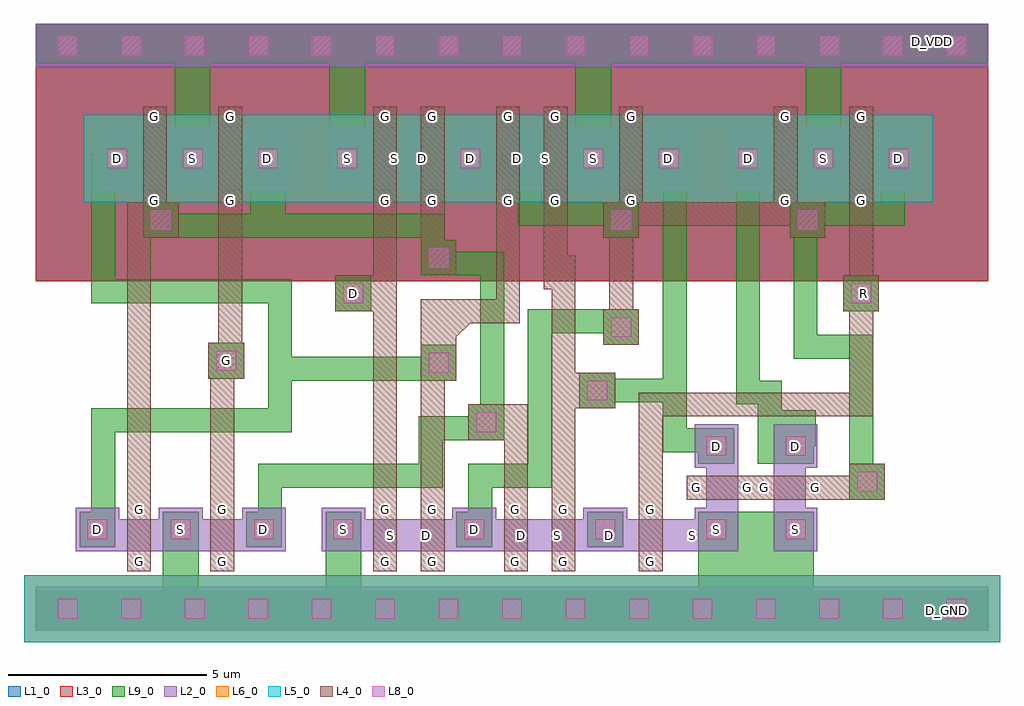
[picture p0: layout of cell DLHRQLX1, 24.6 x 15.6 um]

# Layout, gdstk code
import gdstk
lib = gdstk.Library(unit=1e-6, precision=1e-09)
def R(c, l, rs):  # rectangles x0, y0, x1, y1
    for r in rs: c.add(gdstk.rectangle(r[:2], r[2:], *l))
def A(c, l, x, y, w, h, nx, ny, dx, dy):  # array of equal rectangles
    R(c, l, [(x+i*dx, y+j*dy, x+i*dx+w, y+j*dy+h) for i in range(nx) for j in range(ny)])
def P(c, l, *ps):  # polygons
    for p in ps: c.add(gdstk.Polygon(p, *l))
L1_0 = (1, 0)
L2_0 = (2, 0)
L3_0 = (3, 0)
L4_0 = (4, 0)
L5_0 = (5, 0)
L6_0 = (6, 0)
L8_0 = (8, 0)
L9_0 = (9, 0)

dlhrqlx1 = lib.new_cell('DLHRQLX1')
A(dlhrqlx1, L1_0, 0, 8.8, 1.6, 6.5, 15, 1, 1.6, 0)
R(dlhrqlx1, L1_0, [(0,9.6,6,14.2), (1.9,9.6,7.9,14.2), (5.8,9.6,11.8,14.2), (7,9.6,13,14.2), (8.9,9.6,14.9,14.2), (10.1,9.6,16.1,14.2), (12,9.6,18,14.2), (15.9,9.6,21.9,14.2), (17.8,9.6,23.8,14.2)])
A(dlhrqlx1, L2_0, 0, 0, 1.6, 1.1, 15, 2, 1.6, 14.2)
R(dlhrqlx1, L2_0, [(1,2,2.1,3.1), (2.1,2,3.1,2.8), (3.1,2,4.2,3.1), (3.1,2,4.2,3.1), (4.2,2,5.2,2.8), (5.2,2,6.3,3.1), (7.2,2,8.3,3.1), (8.3,2,9.3,2.8), (8.4,2,9.5,2.8), (9.3,2,10.4,2.8), (9.5,2,10.5,2.8), (10.5,2,11.6,3.1), (10.5,2,11.6,3.1), (11.6,2,12.6,2.8), (11.7,2,12.8,2.8), (12.6,2,13.7,2.8), (12.8,2,13.8,2.8), (13.8,2,14.9,3.1), (13.9,2,15,2.8), (15,2,16,2.8), (16,2,17.1,2.8), (16.6,2,17.7,3.1), (18.6,2,19.7,3.1), (16.9,3.1,17.7,4.1), (18.6,3.1,19.4,4.1), (16.6,4.1,17.7,5.2), (18.6,4.1,19.7,5.2), (1.5,11.1,2.6,12.7), (2.6,11.1,3.4,12.7), (3.4,11.1,4.5,12.7), (3.4,11.1,4.5,12.7), (4.5,11.1,5.3,12.7), (5.3,11.1,6.4,12.7), (7.3,11.1,8.4,12.7), (8.4,11.1,9.2,12.7), (8.5,11.1,9.6,12.7), (9.2,11.1,10.3,12.7), (9.6,11.1,10.4,12.7), (10.4,11.1,11.5,12.7), (10.4,11.1,11.5,12.7), (11.5,11.1,12.3,12.7), (11.6,11.1,12.7,12.7), (12.3,11.1,13.4,12.7), (12.7,11.1,13.5,12.7), (13.5,11.1,14.6,12.7), (13.5,11.1,14.6,12.7), (14.6,11.1,15.4,12.7), (15.4,11.1,16.5,12.7), (17.4,11.1,18.5,12.7), (18.5,11.1,19.3,12.7), (19.3,11.1,20.4,12.7), (19.3,11.1,20.4,12.7), (20.4,11.1,21.2,12.7), (21.2,11.1,22.3,12.7)])
A(dlhrqlx1, L3_0, 0, 8.8, 1.6, 6.5, 15, 1, 1.6, 0)
R(dlhrqlx1, L3_0, [(0,9.6,6,14.2), (1.9,9.6,7.9,14.2), (5.8,9.6,11.8,14.2), (7,9.6,13,14.2), (8.9,9.6,14.9,14.2), (10.1,9.6,16.1,14.2), (12,9.6,18,14.2), (15.9,9.6,21.9,14.2), (17.8,9.6,23.8,14.2)])
R(dlhrqlx1, L4_0, [(2.3,1.5,2.9,3.3), (2.3,1.5,2.9,2), (4.4,1.5,5,3.3), (4.4,1.5,5,2), (8.5,1.5,9.1,3.3), (8.5,1.5,9.1,2), (9.7,1.5,10.3,3.3), (9.7,1.5,10.3,2), (11.8,1.5,12.4,3.3), (11.8,1.5,12.4,2), (13,1.5,13.6,3.3), (13,1.5,13.6,2), (15.2,1.5,15.8,3.3), (15.2,1.5,15.8,2), (13,2.7,13.6,9.45), (2.3,2.8,2.9,3.3), (4.4,2.8,5,3.3), (8.5,2.8,9.1,3.3), (9.7,2.8,10.3,3.3), (11.8,2.8,12.4,3.3), (13,2.8,13.6,3.3), (15.2,2.8,15.8,3.3), (8.5,3,9.1,10.8), (2.3,3.3,2.9,10.8), (4.4,3.3,5,6.35), (16.4,3.3,18.2,3.9), (16.4,3.3,16.9,3.9), (17.7,3.3,18.2,3.9), (18.1,3.3,19.9,3.9), (18.1,3.3,18.6,3.9), (19,3.3,21.4,3.9), (19.4,3.3,19.9,3.9), (20.5,3.3,21.4,4.2), (10.9,4.8,11.8,5.7), (13.25,5.6,14.6,6.5), (13.7,5.6,14.6,6.5), (9.7,6.3,10.6,7.2), (4.35,6.35,5.25,7.25), (14.3,7.2,15.2,8.1), (4.6,7.25,5.2,10.6), (7.55,8.05,8.45,8.95), (8.45,8.05,8.5,8.95), (20.35,8.05,21.25,8.95), (14.45,8.1,15.05,9.9), (12.8,8.6,13.4,10.6), (9.7,8.95,10.6,9.85), (9.7,9.85,10.3,10.6), (2.7,9.9,3.6,10.8), (14.3,9.9,15.2,10.8), (19,9.9,19.9,10.8), (2.7,10.6,3.3,11.1), (2.7,10.6,3.3,13.2), (4.6,10.6,5.2,11.1), (4.6,10.6,5.2,13.2), (8.5,10.6,9.1,11.1), (8.5,10.6,9.1,13.2), (9.7,10.6,10.3,11.1), (9.7,10.6,10.3,13.2), (11.6,10.6,12.2,11.1), (11.6,10.6,12.2,13.2), (12.8,10.6,13.4,11.1), (12.8,10.6,13.4,13.2), (14.7,10.6,15.3,11.1), (14.7,10.6,15.3,13.2), (18.6,10.6,19.2,11.1), (18.6,10.6,19.2,13.2), (20.5,10.6,21.1,11.1), (20.5,10.6,21.1,13.2), (2.7,12.7,3.3,13.2), (4.6,12.7,5.2,13.2), (8.5,12.7,9.1,13.2), (9.7,12.7,10.3,13.2), (11.6,12.7,12.2,13.2), (12.8,12.7,13.4,13.2), (14.7,12.7,15.3,13.2), (18.6,12.7,19.2,13.2), (20.5,12.7,21.1,13.2)])
P(dlhrqlx1, L4_0, [(10.6,7.2),(10.6,7.4),(10.95,7.75),(10.3,7.75),(10.3,7.2)],
  [(9.7,3.3),(10.3,3.3),(10.3,7.75),(12.2,7.75),(12.2,10.6),(11.6,10.6),(11.6,8.35),(9.7,8.35)],
  [(14.7,10.2),(19.2,10.2),(19.2,12.8),(18.6,12.8),(18.6,10.8),(14.7,10.8)],
  [(15.2,3.3),(15.8,3.3),(15.8,5.4),(21.1,5.4),(21.1,10.6),(20.5,10.6),(20.5,6),(15.2,6)],
  [(11.4,5.1),(11.8,5.1),(11.8,2.5),(12.4,2.5),(12.4,5.7),(11.4,5.7)])
A(dlhrqlx1, L5_0, 1.6, -0.3, 1.6, 1.7, 13, 1, 1.6, 0)
R(dlhrqlx1, L5_0, [(-0.3,-0.3,1.6,1.4), (22.4,-0.3,24.3,1.4), (1.2,10.8,4.8,13), (3.1,10.8,6.7,13), (6.4,10.8,7.25,13), (7,10.8,10.6,13), (8.2,10.8,11.8,13), (10.1,10.8,13.7,13), (11.3,10.8,14.9,13), (13.2,10.8,16.8,13), (16.4,10.8,17.45,13), (17.1,10.8,20.7,13), (19,10.8,22.6,13)])
A(dlhrqlx1, L6_0, 1.6, -0.3, 1.6, 1.7, 13, 1, 1.6, 0)
R(dlhrqlx1, L6_0, [(-0.3,-0.3,1.6,1.4), (22.4,-0.3,24.3,1.4), (1.2,10.8,4.8,13), (3.1,10.8,6.7,13), (6.2,10.8,7.35,13), (7,10.8,10.6,13), (8.2,10.8,11.8,13), (10.1,10.8,13.7,13), (11.3,10.8,14.9,13), (13.2,10.8,16.8,13), (16.4,10.8,17.45,13), (17.1,10.8,20.7,13), (19,10.8,22.6,13)])
A(dlhrqlx1, L8_0, 0.55, 0.3, 0.5, 0.5, 15, 2, 1.6, 14.2)
R(dlhrqlx1, L8_0, [(1.3,2.3,1.8,2.8), (3.4,2.3,3.9,2.8), (3.4,2.3,3.9,2.8), (5.5,2.3,6,2.8), (7.5,2.3,8,2.8), (10.8,2.3,11.3,2.8), (10.8,2.3,11.3,2.8), (14.1,2.3,14.6,2.8), (16.9,2.3,17.4,2.8), (18.9,2.3,19.4,2.8), (20.7,3.5,21.2,4), (16.9,4.4,17.4,4.9), (18.9,4.4,19.4,4.9), (11.1,5,11.6,5.5), (13.9,5.8,14.4,6.3), (9.9,6.5,10.4,7), (4.55,6.55,5.05,7.05), (14.5,7.4,15,7.9), (7.75,8.25,8.25,8.75), (20.55,8.25,21.05,8.75), (9.9,9.15,10.4,9.65), (2.9,10.1,3.4,10.6), (14.5,10.1,15,10.6), (19.2,10.1,19.7,10.6), (1.8,11.65,2.3,12.15), (3.7,11.65,4.2,12.15), (3.7,11.65,4.2,12.15), (5.6,11.65,6.1,12.15), (7.6,11.65,8.1,12.15), (10.7,11.65,11.2,12.15), (10.7,11.65,11.2,12.15), (13.8,11.65,14.3,12.15), (13.8,11.65,14.3,12.15), (15.7,11.65,16.2,12.15), (17.7,11.65,18.2,12.15), (19.6,11.65,20.1,12.15), (19.6,11.65,20.1,12.15), (21.5,11.65,22,12.15)])
A(dlhrqlx1, L9_0, 0, 0, 1.6, 1, 15, 2, 1.6, 14.3)
R(dlhrqlx1, L9_0, [(7.3,0,8.2,3), (16.7,0,19.6,3), (22.65,0.2,23.25,0.8), (1.1,2.1,2,3), (3.2,2.1,4.1,3), (3.2,2.1,4.1,3), (5.3,2.1,6.2,3), (7.3,2.1,8.2,3), (10.6,2.1,11.5,3), (10.6,2.1,11.5,3), (13.9,2.1,14.8,3), (16.7,2.1,17.6,3), (18.7,2.1,19.6,3), (5.6,2.4,6.2,4.2), (20.5,3.3,21.4,4.2), (20.65,3.3,21.25,4.05), (16.7,4.2,17.6,5.1), (18.7,4.2,19.6,5.1), (18.75,4.65,19.65,5.55), (10.9,4.8,11.8,5.7), (13.7,5.6,14.6,6.5), (14,5.75,16.4,6.35), (5.85,6.3,10.3,6.9), (9.7,6.3,10.6,7.2), (4.35,6.35,5.25,7.25), (4.5,6.5,5.1,7.1), (14.3,7.2,15.2,8.1), (7.55,8.05,8.45,8.95), (20.35,8.05,21.25,8.95), (7.7,8.2,8.3,8.8), (20.55,8.2,21.15,8.8), (9.7,8.95,10.6,9.85), (2.7,9.9,3.6,10.8), (5.4,9.9,6.3,12.45), (14.3,9.9,15.2,10.8), (19,9.9,19.9,10.8), (19.3,10.2,21.9,10.8), (21.3,10.2,21.9,12), (1.6,11.4,2.5,12.4), (3.5,11.4,4.4,12.4), (3.5,11.4,4.4,12.4), (5.4,11.4,6.3,12.4), (7.4,11.4,8.3,12.4), (7.4,11.4,8.3,15.25), (10.5,11.4,11.4,12.4), (10.5,11.4,11.4,12.4), (13.6,11.4,14.5,12.4), (13.6,11.4,14.5,12.4), (13.6,11.4,14.5,15.25), (15.5,11.4,16.4,12.4), (17.5,11.4,18.4,12.4), (19.4,11.4,20.3,12.4), (19.4,11.4,20.3,12.4), (21.3,11.4,22.2,12.4), (3.5,11.5,4.4,15.2), (19.4,11.9,20.3,14.7), (22.3,14.55,22.9,15.15)])
P(dlhrqlx1, L9_0, [(17.65,5.7),(18.2,5.7),(18.2,4.2),(18.8,4.2),(18.8,4.95),(18.85,4.95),(18.85,5.55),(18.8,5.55),(18.8,6.3),(18.25,6.3),(18.25,12),(17.65,12)],
  [(6,3.6),(10.25,3.6),(10.25,4.8),(11.8,4.8),(11.8,5.4),(9.65,5.4),(9.65,4.2),(6,4.2)],
  [(10,8.95),(11.2,8.95),(11.2,5.1),(11.8,5.1),(11.8,9.55),(10,9.55)],
  [(15.8,4.5),(17.2,4.5),(17.2,5.1),(16.4,5.1),(16.4,12),(15.8,12)],
  [(2.3,0.1),(4.1,0.1),(4.1,3),(3.2,3),(3.2,1),(2.3,1)],
  [(10.9,2.4),(11.5,2.4),(11.5,3.6),(13,3.6),(13,7.5),(14.95,7.5),(14.95,8.1),(12.4,8.1),(12.4,4.2),(10.9,4.2)],
  [(10.8,11.4),(12.15,11.4),(12.15,10.2),(14.9,10.2),(14.9,10.8),(12.75,10.8),(12.75,12),(10.8,12)],
  [(3,9.9),(9.7,9.9),(9.7,9.25),(10.3,9.25),(10.3,10.5),(3,10.5)],
  [(1.4,2.4),(2,2.4),(2,5),(6.45,5),(6.45,6.9),(5.85,6.9),(5.85,5.6),(1.4,5.6)],
  [(1.4,8.25),(5.85,8.25),(5.85,6.3),(6.45,6.3),(6.45,8.85),(2,8.85),(2,11.4),(2.2,11.4),(2.2,12),(1.4,12)],
  [(19.1,6.85),(20.5,6.85),(20.5,3.6),(21.1,3.6),(21.1,7.45),(19.7,7.45),(19.7,10.5),(19.1,10.5)])
dlhrqlx1.add(gdstk.Label('G', (12.1,1.752), layer=4, texttype=0))
dlhrqlx1.add(gdstk.Label('G', (12.1,3.052), layer=4, texttype=0))
dlhrqlx1.add(gdstk.Label('S', (13.151,2.401), layer=2, texttype=0))
dlhrqlx1.add(gdstk.Label('D', (11.051,2.551), layer=9, texttype=0))
dlhrqlx1.add(gdstk.Label('G', (10,1.752), layer=4, texttype=0))
dlhrqlx1.add(gdstk.Label('G', (10,3.052), layer=4, texttype=0))
dlhrqlx1.add(gdstk.Label('S', (8.949,2.401), layer=2, texttype=0))
dlhrqlx1.add(gdstk.Label('D', (11.049,2.551), layer=9, texttype=0))
dlhrqlx1.add(gdstk.Label('D', (9.849,2.401), layer=2, texttype=0))
dlhrqlx1.add(gdstk.Label('G', (8.8,1.752), layer=4, texttype=0))
dlhrqlx1.add(gdstk.Label('G', (8.8,3.052), layer=4, texttype=0))
dlhrqlx1.add(gdstk.Label('S', (7.749,2.551), layer=9, texttype=0))
dlhrqlx1.add(gdstk.Label('G', (13.1,10.852), layer=4, texttype=0))
dlhrqlx1.add(gdstk.Label('G', (13.1,12.952), layer=4, texttype=0))
dlhrqlx1.add(gdstk.Label('S', (14.051,11.901), layer=9, texttype=0))
dlhrqlx1.add(gdstk.Label('D', (12.151,11.901), layer=2, texttype=0))
dlhrqlx1.add(gdstk.Label('G', (11.9,10.852), layer=4, texttype=0))
dlhrqlx1.add(gdstk.Label('G', (11.9,12.952), layer=4, texttype=0))
dlhrqlx1.add(gdstk.Label('S', (12.851,11.901), layer=2, texttype=0))
dlhrqlx1.add(gdstk.Label('D', (10.951,11.901), layer=9, texttype=0))
dlhrqlx1.add(gdstk.Label('G', (10,10.852), layer=4, texttype=0))
dlhrqlx1.add(gdstk.Label('G', (10,12.952), layer=4, texttype=0))
dlhrqlx1.add(gdstk.Label('S', (9.049,11.901), layer=2, texttype=0))
dlhrqlx1.add(gdstk.Label('D', (10.949,11.901), layer=9, texttype=0))
dlhrqlx1.add(gdstk.Label('G', (8.8,10.852), layer=4, texttype=0))
dlhrqlx1.add(gdstk.Label('G', (8.8,12.952), layer=4, texttype=0))
dlhrqlx1.add(gdstk.Label('S', (7.849,11.901), layer=9, texttype=0))
dlhrqlx1.add(gdstk.Label('D', (9.749,11.901), layer=2, texttype=0))
dlhrqlx1.add(gdstk.Label('G', (15,10.852), layer=4, texttype=0))
dlhrqlx1.add(gdstk.Label('G', (15,12.952), layer=4, texttype=0))
dlhrqlx1.add(gdstk.Label('S', (14.049,11.901), layer=9, texttype=0))
dlhrqlx1.add(gdstk.Label('D', (15.949,11.901), layer=9, texttype=0))
dlhrqlx1.add(gdstk.Label('G', (18.9,10.852), layer=4, texttype=0))
dlhrqlx1.add(gdstk.Label('G', (18.9,12.952), layer=4, texttype=0))
dlhrqlx1.add(gdstk.Label('S', (19.851,11.901), layer=9, texttype=0))
dlhrqlx1.add(gdstk.Label('D', (17.951,11.901), layer=9, texttype=0))
dlhrqlx1.add(gdstk.Label('G', (17.948,3.6), layer=4, texttype=0))
dlhrqlx1.add(gdstk.Label('G', (16.648,3.6), layer=4, texttype=0))
dlhrqlx1.add(gdstk.Label('S', (17.149,2.549), layer=9, texttype=0))
dlhrqlx1.add(gdstk.Label('D', (17.149,4.649), layer=9, texttype=0))
dlhrqlx1.add(gdstk.Label('G', (18.352,3.6), layer=4, texttype=0))
dlhrqlx1.add(gdstk.Label('G', (19.652,3.6), layer=4, texttype=0))
dlhrqlx1.add(gdstk.Label('S', (19.151,2.549), layer=9, texttype=0))
dlhrqlx1.add(gdstk.Label('D', (19.151,4.649), layer=9, texttype=0))
dlhrqlx1.add(gdstk.Label('G', (3,10.852), layer=4, texttype=0))
dlhrqlx1.add(gdstk.Label('G', (3,12.952), layer=4, texttype=0))
dlhrqlx1.add(gdstk.Label('S', (3.951,11.901), layer=9, texttype=0))
dlhrqlx1.add(gdstk.Label('D', (2.051,11.901), layer=9, texttype=0))
dlhrqlx1.add(gdstk.Label('G', (4.9,10.852), layer=4, texttype=0))
dlhrqlx1.add(gdstk.Label('G', (4.9,12.952), layer=4, texttype=0))
dlhrqlx1.add(gdstk.Label('S', (3.949,11.901), layer=9, texttype=0))
dlhrqlx1.add(gdstk.Label('D', (5.849,11.901), layer=9, texttype=0))
dlhrqlx1.add(gdstk.Label('G', (4.7,1.752), layer=4, texttype=0))
dlhrqlx1.add(gdstk.Label('G', (4.7,3.052), layer=4, texttype=0))
dlhrqlx1.add(gdstk.Label('S', (3.649,2.551), layer=9, texttype=0))
dlhrqlx1.add(gdstk.Label('D', (5.749,2.551), layer=9, texttype=0))
dlhrqlx1.add(gdstk.Label('G', (2.6,1.752), layer=4, texttype=0))
dlhrqlx1.add(gdstk.Label('G', (2.6,3.052), layer=4, texttype=0))
dlhrqlx1.add(gdstk.Label('S', (3.651,2.551), layer=9, texttype=0))
dlhrqlx1.add(gdstk.Label('D', (1.551,2.551), layer=9, texttype=0))
dlhrqlx1.add(gdstk.Label('G', (20.8,10.852), layer=4, texttype=0))
dlhrqlx1.add(gdstk.Label('G', (20.8,12.952), layer=4, texttype=0))
dlhrqlx1.add(gdstk.Label('S', (19.849,11.901), layer=9, texttype=0))
dlhrqlx1.add(gdstk.Label('D', (21.749,11.901), layer=9, texttype=0))
dlhrqlx1.add(gdstk.Label('D', (14.451,2.401), layer=2, texttype=0))
dlhrqlx1.add(gdstk.Label('G', (15.5,1.752), layer=4, texttype=0))
dlhrqlx1.add(gdstk.Label('G', (15.5,3.052), layer=4, texttype=0))
dlhrqlx1.add(gdstk.Label('S', (16.551,2.401), layer=2, texttype=0))
dlhrqlx1.add(gdstk.Label('D', (12.251,2.401), layer=2, texttype=0))
dlhrqlx1.add(gdstk.Label('G', (13.3,1.752), layer=4, texttype=0))
dlhrqlx1.add(gdstk.Label('G', (13.3,3.052), layer=4, texttype=0))
dlhrqlx1.add(gdstk.Label('S', (14.351,2.551), layer=9, texttype=0))
dlhrqlx1.add(gdstk.Label('D_GND', (22.95,0.5), layer=50, texttype=0))
dlhrqlx1.add(gdstk.Label('D_VDD', (22.6,14.85), layer=50, texttype=0))
dlhrqlx1.add(gdstk.Label('Q', (19,4.85), layer=50, texttype=0))
dlhrqlx1.add(gdstk.Label('G', (4.8,6.8), layer=50, texttype=0))
dlhrqlx1.add(gdstk.Label('R', (20.85,8.5), layer=50, texttype=0))
dlhrqlx1.add(gdstk.Label('D', (8,8.5), layer=50, texttype=0))

lib.write_gds('DLHRQLX1.gds')
